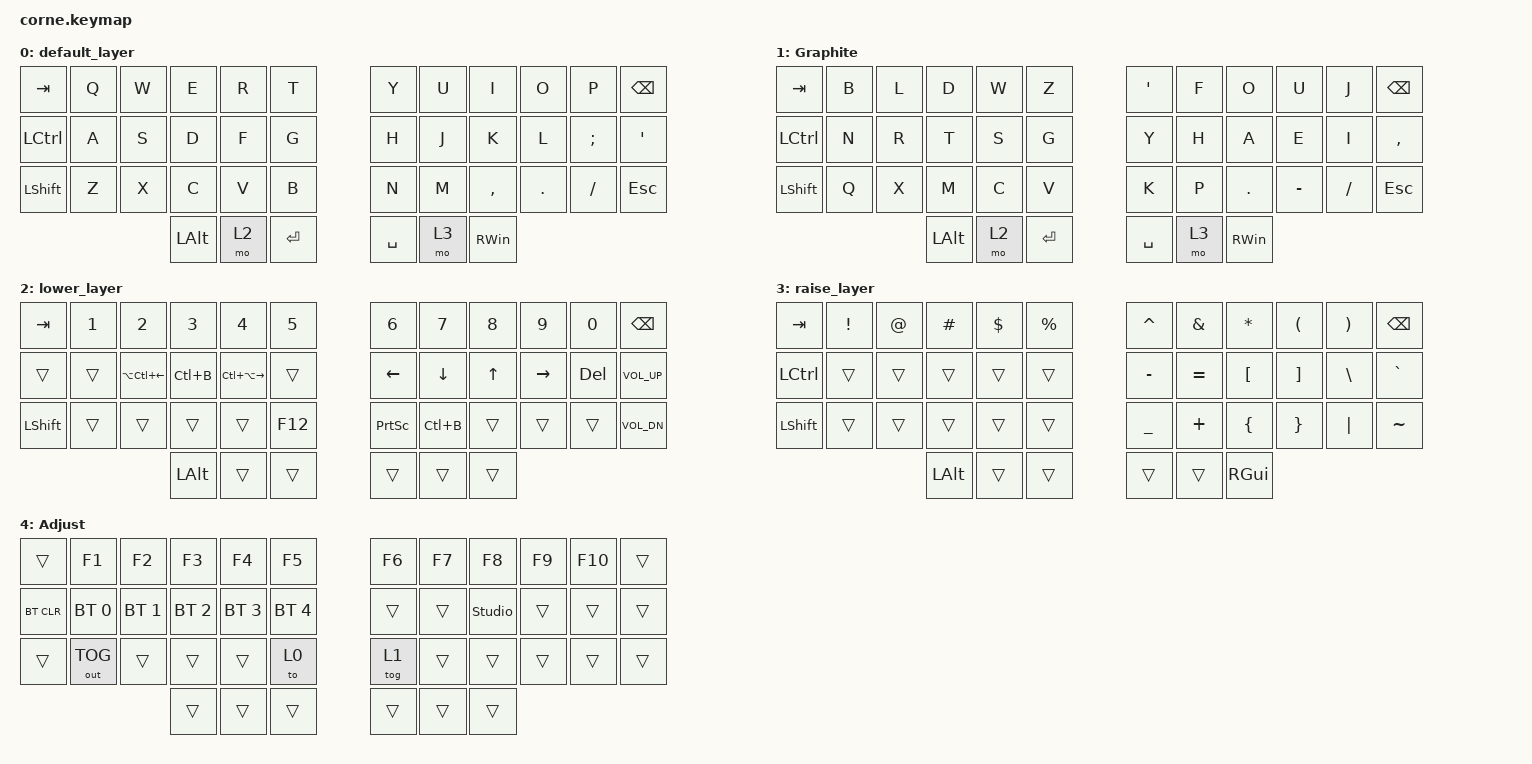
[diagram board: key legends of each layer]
/*
 * Copyright (c) 2020 The ZMK Contributors
 *
 * SPDX-License-Identifier: MIT
 */

#include <behaviors.dtsi>
#include <dt-bindings/zmk/bt.h>
#include <dt-bindings/zmk/keys.h>
#include <dt-bindings/zmk/outputs.h>

/ {
    combos {
        compatible = "zmk,combos";

        AdjustLayer {
            bindings = <&mo 4>;
            key-positions = <37 40>;
        };
    };

    keymap {
        compatible = "zmk,keymap";

        default_layer {
            // -----------------------------------------------------------------------------------------
            // |  TAB |  Q  |  W  |  E  |  R  |  T  |   |  Y  |  U   |  I  |  O  |  P  | BKSP |
            // | CTRL |  A  |  S  |  D  |  F  |  G  |   |  H  |  J   |  K  |  L  |  ;  |  '   |
            // | SHFT |  Z  |  X  |  C  |  V  |  B  |   |  N  |  M   |  ,  |  .  |  /  | ESC  |
            //                    | ALT | LWR | SPC |   | ENT | RSE  | WIN |

            bindings = <
&kp TAB    &kp Q  &kp W  &kp E     &kp R  &kp T      &kp Y      &kp U  &kp I          &kp O    &kp P     &kp BSPC
&kp LCTRL  &kp A  &kp S  &kp D     &kp F  &kp G      &kp H      &kp J  &kp K          &kp L    &kp SEMI  &kp SQT
&kp LSHFT  &kp Z  &kp X  &kp C     &kp V  &kp B      &kp N      &kp M  &kp COMMA      &kp DOT  &kp FSLH  &kp ESC
                         &kp LALT  &mo 2  &kp RET    &kp SPACE  &mo 3  &kp RIGHT_WIN
            >;
        };

        Graphite {
            // -----------------------------------------------------------------------------------------
            // |  TAB  |  B  |  L  |  D  |  W  |  Z  |   |  '  |  F  |  O  |  U  |  J  | BKSP |
            // | CTRL |  N  |  R  |  T  |  S  |  G  |   |  Y  |  H  |  A  |  E  |  I  |  ,   |
            // | SHFT |  Q  |  X  |  M  |  C  |  V  |   |  K  |  P  |  .  |  -  |  /  | ESC  |
            //                    | ALT | LWR | SPC |   | ENT | RSE  | WIN |

            bindings = <
&kp TAB    &kp B  &kp L  &kp D     &kp W  &kp Z      &kp SQT    &kp F  &kp O          &kp U      &kp J     &kp BSPC
&kp LCTRL  &kp N  &kp R  &kp T     &kp S  &kp G      &kp Y      &kp H  &kp A          &kp E      &kp I     &kp COMMA
&kp LSHFT  &kp Q  &kp X  &kp M     &kp C  &kp V      &kp K      &kp P  &kp DOT        &kp MINUS  &kp FSLH  &kp ESC
                         &kp LALT  &mo 2  &kp RET    &kp SPACE  &mo 3  &kp RIGHT_WIN
            >;
        };

        lower_layer {
            // -----------------------------------------------------------------------------------------
            // |  TAB |  1  |  2  |  3  |  4  |  5  |   |  6  |  7  |  8  |  9  |  0  | BKSP |
            // | BTCLR| BT1 | BT2 | BT3 | BT4 | BT5 |   | LFT | DWN |  UP | RGT |     |      |
            // | SHFT |     |     |     |     |     |   |     |     |     |     |     |      |
            //                    | GUI |     | SPC |   | ENT |     | ALT |

            bindings = <
&kp TAB    &kp N1  &kp N2            &kp N3     &kp N4             &kp N5     &kp N6     &kp N7     &kp N8  &kp N9     &kp N0   &kp BSPC
&trans     &trans  &kp LA(LC(LEFT))  &kp LC(B)  &kp LC(LA(RIGHT))  &trans     &kp LEFT   &kp DOWN   &kp UP  &kp RIGHT  &kp DEL  &kp C_VOL_UP
&kp LSHFT  &trans  &trans            &trans     &trans             &kp F12    &kp PSCRN  &kp LC(B)  &trans  &trans     &trans   &kp C_VOL_DN
                                     &kp LALT   &trans             &trans     &trans     &trans     &trans
            >;
        };

        raise_layer {
            // -----------------------------------------------------------------------------------------
            // |  TAB |  !  |  @  |  #  |  $  |  %  |   |  ^  |  &  |  *  |  (  |  )  | BKSP |
            // | CTRL |     |     |     |     |     |   |  -  |  =  |  [  |  ]  |  \  |  `   |
            // | SHFT |     |     |     |     |     |   |  _  |  +  |  {  |  }  | "|" |  ~   |
            //                    | GUI |     | SPC |   | ENT |     | ALT |

            bindings = <
&kp TAB    &kp EXCL  &kp AT  &kp HASH  &kp DLLR  &kp PRCNT    &kp CARET  &kp AMPS   &kp ASTRK  &kp LPAR  &kp RPAR  &kp BSPC
&kp LCTRL  &trans    &trans  &trans    &trans    &trans       &kp MINUS  &kp EQUAL  &kp LBKT   &kp RBKT  &kp BSLH  &kp GRAVE
&kp LSHFT  &trans    &trans  &trans    &trans    &trans       &kp UNDER  &kp PLUS   &kp LBRC   &kp RBRC  &kp PIPE  &kp TILDE
                             &kp LALT  &trans    &trans       &trans     &trans     &kp RGUI
            >;
        };

        Adjust {
            bindings = <
&trans      &kp F1        &kp F2        &kp F3        &kp F4        &kp F5          &kp F6  &kp F7  &kp F8  &kp F9  &kp F10  &trans
&bt BT_CLR  &bt BT_SEL 0  &bt BT_SEL 1  &bt BT_SEL 2  &bt BT_SEL 3  &bt BT_SEL 4    &trans  &trans  &studio_unlock  &trans  &trans   &trans
&trans      &out OUT_TOG  &trans        &trans        &trans        &to 0           &tog 1  &trans  &trans  &trans  &trans   &trans
                                        &trans        &trans        &trans          &trans  &trans  &trans
            >;
        };
    };
};
